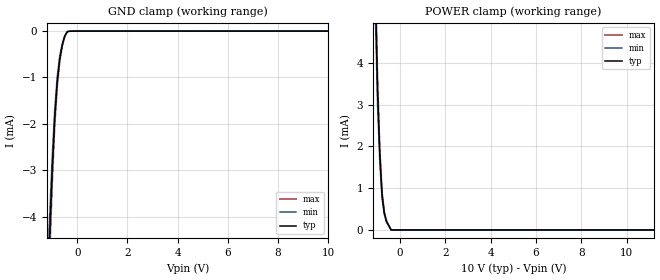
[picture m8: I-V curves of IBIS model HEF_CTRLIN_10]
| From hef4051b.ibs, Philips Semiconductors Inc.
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|   Model HEF_CTRLIN_10
[Model]   HEF_CTRLIN_10
| Clamp curves based on measurements and interpolated to required voltage range
| C_comp are estimated values
Model_type   Input
Vinl = 7V
Vinh = 3V
C_comp   6pF   4.5pF   7.5pF
|Ambient temperature:   25   85   -40
[Temperature Range]   35   95   -30
[Voltage Range]   10   10   10
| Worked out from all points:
|   GND clamp passes 1 mA (typ) near -0.78 V on its own axis
|   POWER clamp passes 1 mA (typ) near -0.82 V on its own axis
|Process Range   nominal   slow   fast
[GND_clamp]
|   voltage   I(typ)   I(min)   I(max)
-10V      -165mA     -148.5mA   -181.5mA
-2V       -17mA      -15.3mA    -18.7mA
-1V       -3mA       -2.7mA     -3.3mA
-900mV    -1.87mA    -1.683mA   -2.057mA
-800mV    -1.09mA    -981uA     -1.199mA
-700mV    -600uA     -540uA     -660uA
-600mV    -300uA     -270uA     -330uA
-500mV    -110uA     -99uA      -121uA
-400mV    -13uA      -11.7uA    -14.3uA
-100mV    0A         0A         0A
10V       0A         0A         0A
[POWER_clamp]
|   voltage   I(typ)   I(min)   I(max)
-10V      192.4mA    173.2mA    211.7mA
-2V       28.32mA    25.49mA    31.15mA
-1V       3.332mA    2.999mA    3.665mA
-900mV    1.8mA      1.62mA     1.98mA
-800mV    833uA      749.7uA    916.3uA
-700mV    400uA      360uA      440uA
-600mV    200uA      180uA      220uA
-400mV    0A         0A         0A
20V       0A         0A         0A
